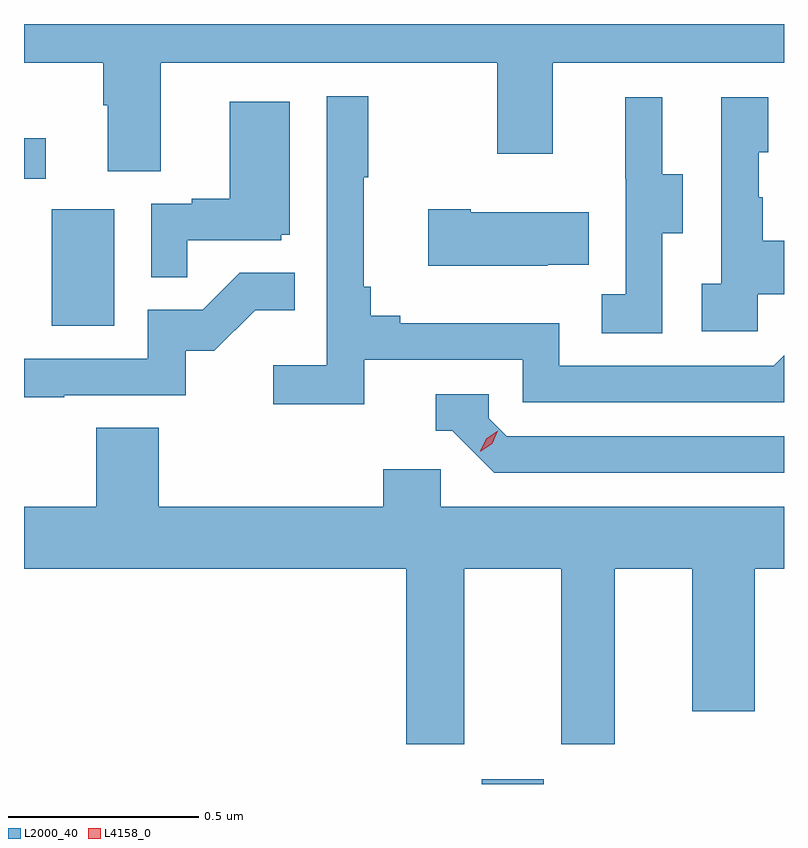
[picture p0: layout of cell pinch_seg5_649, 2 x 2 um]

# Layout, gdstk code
import gdstk
lib = gdstk.Library(unit=1e-6, precision=1e-09)
def R(c, l, rs):  # rectangles x0, y0, x1, y1
    for r in rs: c.add(gdstk.rectangle(r[:2], r[2:], *l))
def P(c, l, *ps):  # polygons
    for p in ps: c.add(gdstk.Polygon(p, *l))
L2000_40 = (2000, 40)
L4158_0 = (4158, 0)

pinch_seg5_649 = lib.new_cell('pinch_seg5_649')
R(pinch_seg5_649, L2000_40, [(1039.577,860.19,1039.741,860.203), (1038.446,861.396,1038.61,861.703), (1038.373,861.783,1038.43,861.889)])
P(pinch_seg5_649, L2000_40, [(1038.733,862.088),(1039.618,862.088),(1039.618,861.849),(1039.765,861.849),(1039.765,862.088),(1040.373,862.088),(1040.373,862.19),(1038.373,862.19),(1038.373,862.088),(1038.581,862.088),(1038.581,861.976),(1038.593,861.976),(1038.593,861.802),(1038.733,861.802)],
  [(1039.268,861.306),(1039.686,861.306),(1039.686,861.195),(1040.373,861.195),(1040.373,861.318),(1040.346,861.291),(1039.782,861.291),(1039.782,861.403),(1039.363,861.403),(1039.363,861.422),(1039.286,861.422),(1039.286,861.499),(1039.267,861.499),(1039.267,861.787),(1039.279,861.787),(1039.279,862),(1039.17,862),(1039.17,861.292),(1039.029,861.292),(1039.029,861.19),(1039.268,861.19)],
  [(1040.304,861.479),(1040.373,861.479),(1040.373,861.619),(1040.317,861.619),(1040.317,861.734),(1040.307,861.734),(1040.307,861.852),(1040.332,861.852),(1040.332,861.997),(1040.208,861.997),(1040.208,861.506),(1040.157,861.506),(1040.157,861.381),(1040.304,861.381)],
  [(1040.052,861.64),(1040.107,861.64),(1040.107,861.795),(1040.053,861.795),(1040.053,861.997),(1039.955,861.997),(1039.955,861.783),(1039.956,861.783),(1039.956,861.479),(1039.893,861.479),(1039.893,861.376),(1040.052,861.376)],
  [(1038.803,861.621),(1039.05,861.621),(1039.05,861.636),(1039.072,861.636),(1039.072,861.985),(1038.914,861.985),(1038.914,861.73),(1038.815,861.73),(1038.815,861.717),(1038.708,861.717),(1038.708,861.523),(1038.803,861.523)],
  [(1039.751,861.557),(1039.859,861.557),(1039.859,861.694),(1039.549,861.694),(1039.549,861.702),(1039.437,861.702),(1039.437,861.554),(1039.751,861.554)],
  [(1038.479,861.213),(1038.798,861.213),(1038.798,861.33),(1038.874,861.33),(1038.981,861.437),(1039.085,861.437),(1039.085,861.536),(1038.941,861.536),(1038.843,861.438),(1038.699,861.438),(1038.699,861.309),(1038.373,861.309),(1038.373,861.208),(1038.479,861.208)],
  [(1040.373,861.105),(1039.644,861.105),(1039.596,861.153),(1039.596,861.216),(1039.457,861.216),(1039.457,861.12),(1039.5,861.12),(1039.611,861.009),(1040.373,861.009)],
  [(1039.531,860.756),(1039.787,860.756),(1039.787,860.295),(1039.927,860.295),(1039.927,860.756),(1040.132,860.756),(1040.132,860.382),(1040.296,860.382),(1040.296,860.756),(1040.373,860.756),(1040.373,860.92),(1039.47,860.92),(1039.47,861.018),(1039.319,861.018),(1039.319,860.92),(1038.728,860.92),(1038.728,861.128),(1038.563,861.128),(1038.563,860.92),(1038.373,860.92),(1038.373,860.756),(1039.379,860.756),(1039.379,860.295),(1039.531,860.295)])
P(pinch_seg5_649, L4158_0, [(1039.574,861.066),(1039.574,861.066),(1039.59,861.099),(1039.62,861.119),(1039.62,861.119),(1039.62,861.119),(1039.605,861.086),(1039.575,861.066)])

lib.write_gds('pinch_seg5_649.gds')
